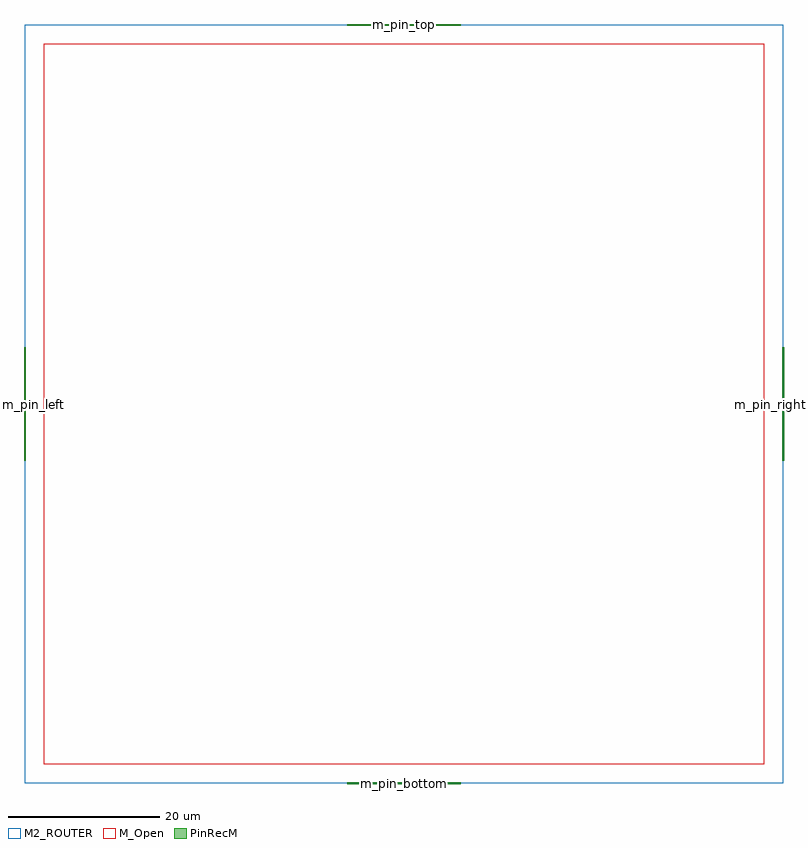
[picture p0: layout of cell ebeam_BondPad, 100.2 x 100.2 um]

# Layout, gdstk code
from math import pi, radians
import gdstk
lib = gdstk.Library(unit=1e-6, precision=1e-09)
def R(c, l, rs):  # rectangles x0, y0, x1, y1
    for r in rs: c.add(gdstk.rectangle(r[:2], r[2:], *l))
PinRecM = (1, 11)
M2_ROUTER = (12, 0)
M_Open = (13, 0)

bondpad_1 = lib.new_cell('BondPad$1')
R(bondpad_1, M2_ROUTER, [(0,0,100,100)])
R(bondpad_1, M_Open, [(2.5,2.5,97.5,97.5)])

ebeam_bondpad = lib.new_cell('ebeam_BondPad')
ebeam_bondpad.add(gdstk.FlexPath([(0,49.9),(0,50.1)], 15, ends="flush", simple_path=True, layer=1, datatype=11))  # PinRecM
ebeam_bondpad.add(gdstk.FlexPath([(0,-49.9),(0,-50.1)], 15, ends="flush", simple_path=True, layer=1, datatype=11))  # PinRecM
ebeam_bondpad.add(gdstk.FlexPath([(-49.9,0),(-50.1,0)], 15, ends="flush", simple_path=True, layer=1, datatype=11))  # PinRecM
ebeam_bondpad.add(gdstk.FlexPath([(49.9,0),(50.1,0)], 15, ends="flush", simple_path=True, layer=1, datatype=11))  # PinRecM
ebeam_bondpad.add(gdstk.Reference(bondpad_1, (50,50), rotation=pi))
ebeam_bondpad.add(gdstk.Label('m_pin_top', (0,50), layer=1, texttype=11))
ebeam_bondpad.add(gdstk.Label('m_pin_bottom', (0,-50), layer=1, texttype=11))
ebeam_bondpad.add(gdstk.Label('m_pin_left', (-50,0), layer=1, texttype=11))
ebeam_bondpad.add(gdstk.Label('m_pin_right', (50,0), layer=1, texttype=11))
ebeam_bondpad.add(gdstk.Label('m_pin_top', (0,50), layer=1, texttype=11))
ebeam_bondpad.add(gdstk.Label('m_pin_bottom', (0,-50), layer=1, texttype=11))
ebeam_bondpad.add(gdstk.Label('m_pin_left', (-50,0), layer=1, texttype=11))
ebeam_bondpad.add(gdstk.Label('m_pin_right', (50,0), layer=1, texttype=11))

lib.write_gds('ebeam_BondPad.gds')
